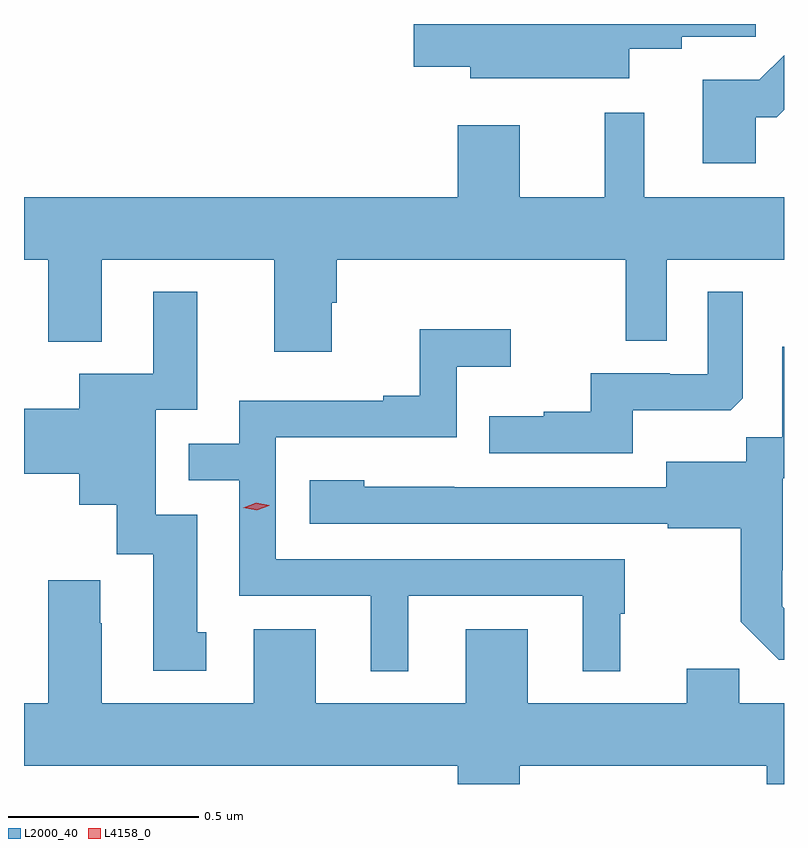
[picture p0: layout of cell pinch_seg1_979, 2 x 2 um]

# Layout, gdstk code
import gdstk
lib = gdstk.Library(unit=1e-6, precision=1e-09)
def P(c, l, *ps):  # polygons
    for p in ps: c.add(gdstk.Polygon(p, *l))
L2000_40 = (2000, 40)
L4158_0 = (4158, 0)

pinch_seg1_979 = lib.new_cell('pinch_seg1_979')
P(pinch_seg1_979, L2000_40, [(153.472,537.635),(153.61,537.635),(153.61,537.667),(153.805,537.667),(153.805,537.7),(152.904,537.7),(152.904,537.587),(153.053,537.587),(153.053,537.557),(153.472,537.557)],
  [(153.805,537.455),(153.86,537.455),(153.879,537.474),(153.879,537.618),(153.814,537.553),(153.665,537.553),(153.665,537.333),(153.805,537.333)],
  [(152.689,536.967),(152.702,536.967),(152.702,537.08),(153.462,537.08),(153.462,536.866),(153.57,536.866),(153.57,537.08),(153.879,537.08),(153.879,537.244),(153.511,537.244),(153.511,537.466),(153.407,537.466),(153.407,537.244),(153.184,537.244),(153.184,537.433),(153.02,537.433),(153.02,537.244),(151.879,537.244),(151.879,537.08),(151.943,537.08),(151.943,536.864),(152.083,536.864),(152.083,537.08),(152.537,537.08),(152.537,536.838),(152.689,536.838)],
  [(153.481,536.684),(153.739,536.684),(153.771,536.715),(153.771,536.995),(153.678,536.995),(153.678,536.778),(153.578,536.778),(153.578,536.781),(153.371,536.781),(153.371,536.68),(153.247,536.68),(153.247,536.668),(153.103,536.668),(153.103,536.571),(153.481,536.571)],
  [(152.359,536.1),(152.335,536.1),(152.335,536.409),(152.226,536.409),(152.226,536.685),(152.335,536.685),(152.335,536.995),(152.219,536.995),(152.219,536.779),(152.024,536.779),(152.024,536.688),(151.879,536.688),(151.879,536.516),(152.024,536.516),(152.024,536.435),(152.123,536.435),(152.123,536.304),(152.219,536.304),(152.219,535.998),(152.359,535.998)],
  [(152.89,536.196),(153.35,536.196),(153.35,535.997),(153.448,535.997),(153.448,536.148),(153.46,536.148),(153.46,536.292),(152.541,536.292),(152.541,536.613),(153.018,536.613),(153.018,536.798),(153.16,536.798),(153.16,536.897),(152.92,536.897),(152.92,536.722),(152.825,536.722),(152.825,536.709),(152.445,536.709),(152.445,536.595),(152.312,536.595),(152.312,536.499),(152.445,536.499),(152.445,536.196),(152.792,536.196),(152.792,535.997),(152.89,535.997)],
  [(153.879,536.163),(153.874,536.168),(153.874,536.263),(153.876,536.263),(153.876,536.504),(153.879,536.504),(153.879,536.851),(153.875,536.851),(153.875,536.612),(153.78,536.612),(153.78,536.548),(153.569,536.548),(153.569,536.481),(153.011,536.481),(153.011,536.482),(152.775,536.482),(152.775,536.5),(152.631,536.5),(152.631,536.385),(153.573,536.385),(153.573,536.373),(153.765,536.373),(153.765,536.127),(153.865,536.027),(153.879,536.027)],
  [(153.184,535.748),(153.833,535.748),(153.833,535.7),(153.879,535.7),(153.879,535.912),(153.761,535.912),(153.761,536.003),(153.623,536.003),(153.623,535.912),(153.205,535.912),(153.205,536.107),(153.041,536.107),(153.041,535.912),(152.647,535.912),(152.647,536.107),(152.483,536.107),(152.483,535.912),(152.083,535.912),(152.083,536.123),(152.08,536.123),(152.08,536.236),(151.943,536.236),(151.943,535.912),(151.879,535.912),(151.879,535.748),(153.02,535.748),(153.02,535.7),(153.184,535.7)])
P(pinch_seg1_979, L4158_0, [(152.492,536.42),(152.456,536.427),(152.456,536.427),(152.456,536.427),(152.49,536.44),(152.525,536.433),(152.525,536.432),(152.525,536.432)])

lib.write_gds('pinch_seg1_979.gds')
